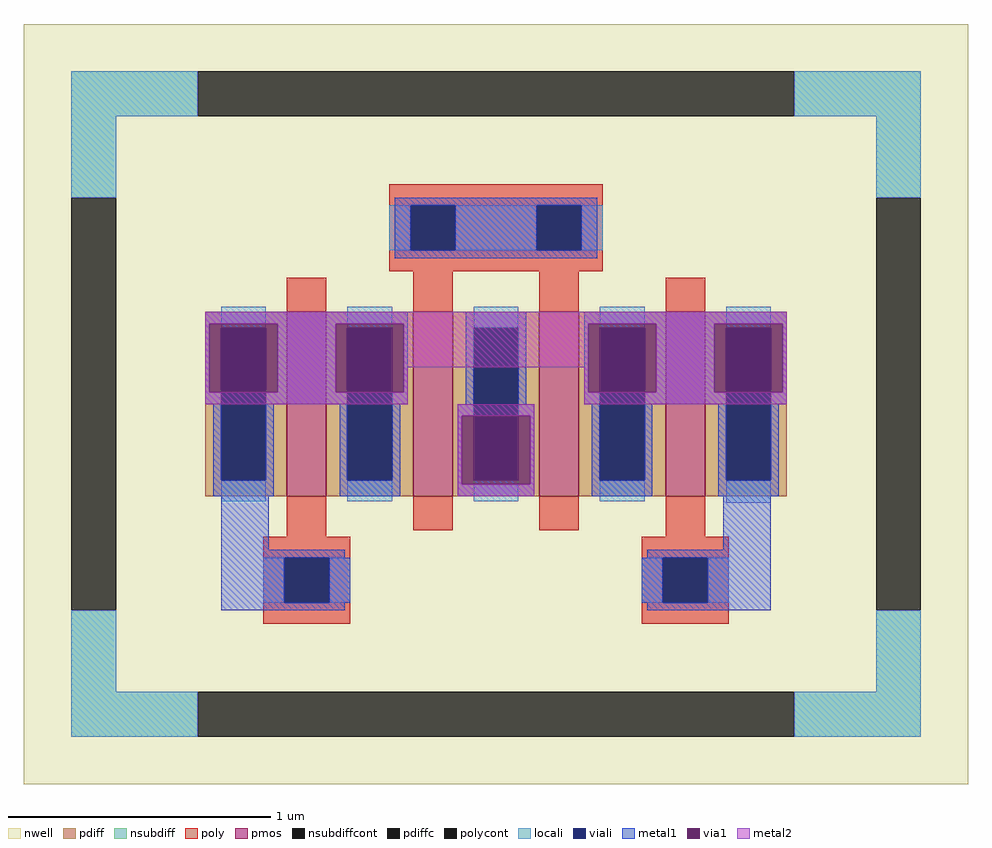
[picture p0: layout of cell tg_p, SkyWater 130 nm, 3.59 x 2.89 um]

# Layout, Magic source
magic
tech sky130A
magscale 1 2
<< nwell >>
rect -359 -289 359 289
<< pmos >>
rect -159 -70 -129 70
rect -63 -70 -33 70
rect 33 -70 63 70
rect 129 -70 159 70
<< pdiff >>
rect -221 58 -159 70
rect -221 -58 -209 58
rect -175 -58 -159 58
rect -221 -70 -159 -58
rect -129 58 -63 70
rect -129 -58 -113 58
rect -79 -58 -63 58
rect -129 -70 -63 -58
rect -33 58 33 70
rect -33 -58 -17 58
rect 17 -58 33 58
rect -33 -70 33 -58
rect 63 58 129 70
rect 63 -58 79 58
rect 113 -58 129 58
rect 63 -70 129 -58
rect 159 58 221 70
rect 159 -58 175 58
rect 209 -58 221 58
rect 159 -70 221 -58
<< pdiffc >>
rect -209 -58 -175 58
rect -113 -58 -79 58
rect -17 -58 17 58
rect 79 -58 113 58
rect 175 -58 209 58
<< nsubdiff >>
rect -323 219 -227 253
rect 227 219 323 253
rect -323 157 -289 219
rect 289 157 323 219
rect -323 -219 -289 -157
rect 289 -219 323 -157
rect -323 -253 -227 -219
rect 227 -253 323 -219
<< nsubdiffcont >>
rect -227 219 227 253
rect -323 -157 -289 157
rect 289 -157 323 157
rect -227 -253 227 -219
<< poly >>
rect -81 151 81 167
rect -81 117 -65 151
rect -31 117 31 151
rect 65 117 81 151
rect -81 101 81 117
rect -159 70 -129 96
rect -63 70 -33 101
rect 33 70 63 101
rect 129 70 159 96
rect -159 -101 -129 -70
rect -63 -96 -33 -70
rect 33 -96 63 -70
rect 129 -101 159 -70
rect -177 -117 -111 -101
rect -177 -151 -161 -117
rect -127 -151 -111 -117
rect -177 -167 -111 -151
rect 111 -117 177 -101
rect 111 -151 127 -117
rect 161 -151 177 -117
rect 111 -167 177 -151
<< polycont >>
rect -65 117 -31 151
rect 31 117 65 151
rect -161 -151 -127 -117
rect 127 -151 161 -117
<< locali >>
rect -323 219 -227 253
rect 227 219 323 253
rect -323 157 -289 219
rect 289 157 323 219
rect -81 117 -65 151
rect -31 117 31 151
rect 65 117 81 151
rect -209 58 -175 74
rect -209 -74 -175 -58
rect -113 58 -79 74
rect -113 -74 -79 -58
rect -17 58 17 74
rect -17 -74 17 -58
rect 79 58 113 74
rect 79 -74 113 -58
rect 175 58 209 74
rect 175 -75 209 -58
rect -177 -151 -161 -117
rect -127 -151 -111 -117
rect 111 -151 127 -117
rect 161 -151 177 -117
rect -323 -219 -289 -157
rect 289 -219 323 -157
rect -323 -253 -227 -219
rect 227 -253 323 -219
<< viali >>
rect -65 117 -31 151
rect 31 117 65 151
rect -209 -58 -175 58
rect -113 -58 -79 58
rect -17 -58 17 58
rect 79 -58 113 58
rect 175 -58 209 58
rect -161 -151 -127 -117
rect 127 -151 161 -117
<< metal1 >>
rect -77 151 77 157
rect -77 117 -65 151
rect -31 117 31 151
rect 65 117 77 151
rect -77 111 77 117
rect -221 61 -67 70
rect -221 9 -218 61
rect -166 9 -122 61
rect -70 9 -67 61
rect -221 0 -209 9
rect -215 -58 -209 0
rect -175 0 -113 9
rect -175 -58 -169 0
rect -215 -70 -169 -58
rect -119 -58 -113 0
rect -79 0 -67 9
rect -23 58 23 70
rect -23 0 -17 58
rect -79 -58 -73 0
rect -119 -70 -73 -58
rect -29 -9 -17 0
rect 17 0 23 58
rect 67 61 221 70
rect 67 9 70 61
rect 122 9 166 61
rect 218 9 221 61
rect 67 0 79 9
rect 17 -9 29 0
rect -29 -61 -26 -9
rect 26 -61 29 -9
rect -29 -70 29 -61
rect 73 -58 79 0
rect 113 0 175 9
rect 113 -58 119 0
rect 73 -70 119 -58
rect 169 -58 175 0
rect 209 0 221 9
rect 209 -58 215 0
rect 169 -70 215 -58
rect -209 -111 -173 -70
rect 173 -111 209 -70
rect -209 -117 -115 -111
rect 115 -117 209 -111
rect -209 -151 -161 -117
rect -127 -151 -111 -117
rect 111 -151 127 -117
rect 161 -151 209 -117
rect -209 -157 -115 -151
rect 115 -157 209 -151
<< via1 >>
rect -218 58 -166 61
rect -218 9 -209 58
rect -209 9 -175 58
rect -175 9 -166 58
rect -122 58 -70 61
rect -122 9 -113 58
rect -113 9 -79 58
rect -79 9 -70 58
rect 70 58 122 61
rect 70 9 79 58
rect 79 9 113 58
rect 113 9 122 58
rect 166 58 218 61
rect 166 9 175 58
rect 175 9 209 58
rect 209 9 218 58
rect -26 -58 -17 -9
rect -17 -58 17 -9
rect 17 -58 26 -9
rect -26 -61 26 -58
<< metal2 >>
rect -221 61 221 70
rect -221 9 -218 61
rect -166 9 -122 61
rect -70 28 70 61
rect -70 9 -67 28
rect -221 0 -67 9
rect 67 9 70 28
rect 122 9 166 61
rect 218 9 221 61
rect 67 0 221 9
rect -29 -9 29 0
rect -29 -61 -26 -9
rect 26 -61 29 -9
rect -29 -70 29 -61
<< properties >>
string FIXED_BBOX -306 -236 306 236
string gencell sky130_fd_pr__pfet_01v8
string library sky130
string parameters w 0.7 l 0.15 m 1 nf 4 diffcov 100 polycov 100 guard 1 glc 1 grc 1 gtc 1 gbc 1 tbcov 100 rlcov 100 topc 1 botc 1 poverlap 0 doverlap 1 lmin 0.15 wmin 0.42 compatible {sky130_fd_pr__pfet_01v8  sky130_fd_pr__pfet_01v8_lvt sky130_fd_pr__pfet_01v8_hvt  sky130_fd_pr__pfet_g5v0d10v5} full_metal 1 viasrc 100 viadrn 100 viagate 100 viagb 0 viagr 0 viagl 0 viagt 0
<< end >>
